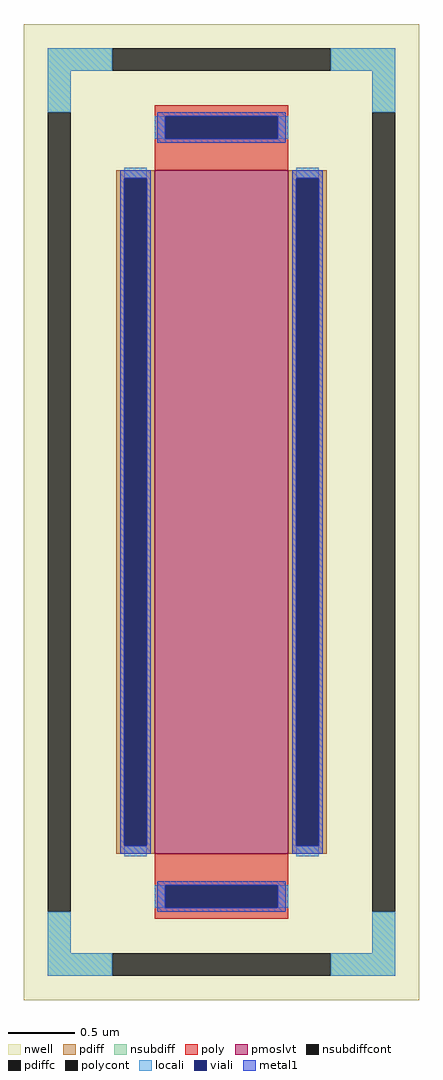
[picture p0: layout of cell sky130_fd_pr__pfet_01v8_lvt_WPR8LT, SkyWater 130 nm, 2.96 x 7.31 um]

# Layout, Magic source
magic
tech sky130A
magscale 1 2
<< nwell >>
rect -296 -731 296 731
<< pmoslvt >>
rect -100 -512 100 512
<< pdiff >>
rect -158 500 -100 512
rect -158 -500 -146 500
rect -112 -500 -100 500
rect -158 -512 -100 -500
rect 100 500 158 512
rect 100 -500 112 500
rect 146 -500 158 500
rect 100 -512 158 -500
<< pdiffc >>
rect -146 -500 -112 500
rect 112 -500 146 500
<< nsubdiff >>
rect -260 661 -164 695
rect 164 661 260 695
rect -260 599 -226 661
rect 226 599 260 661
rect -260 -661 -226 -599
rect 226 -661 260 -599
rect -260 -695 -164 -661
rect 164 -695 260 -661
<< nsubdiffcont >>
rect -164 661 164 695
rect -260 -599 -226 599
rect 226 -599 260 599
rect -164 -695 164 -661
<< poly >>
rect -100 593 100 609
rect -100 559 -84 593
rect 84 559 100 593
rect -100 512 100 559
rect -100 -559 100 -512
rect -100 -593 -84 -559
rect 84 -593 100 -559
rect -100 -609 100 -593
<< polycont >>
rect -84 559 84 593
rect -84 -593 84 -559
<< locali >>
rect -260 661 -164 695
rect 164 661 260 695
rect -260 599 -226 661
rect 226 599 260 661
rect -100 559 -84 593
rect 84 559 100 593
rect -146 500 -112 516
rect -146 -516 -112 -500
rect 112 500 146 516
rect 112 -516 146 -500
rect -100 -593 -84 -559
rect 84 -593 100 -559
rect -260 -661 -226 -599
rect 226 -661 260 -599
rect -260 -695 -164 -661
rect 164 -695 260 -661
<< viali >>
rect -84 559 84 593
rect -146 -500 -112 500
rect 112 -500 146 500
rect -84 -593 84 -559
<< metal1 >>
rect -96 593 96 599
rect -96 559 -84 593
rect 84 559 96 593
rect -96 553 96 559
rect -152 500 -106 512
rect -152 -500 -146 500
rect -112 -500 -106 500
rect -152 -512 -106 -500
rect 106 500 152 512
rect 106 -500 112 500
rect 146 -500 152 500
rect 106 -512 152 -500
rect -96 -559 96 -553
rect -96 -593 -84 -559
rect 84 -593 96 -559
rect -96 -599 96 -593
<< properties >>
string FIXED_BBOX -243 -678 243 678
string gencell sky130_fd_pr__pfet_01v8_lvt
string library sky130
string parameters w 5.12 l 1.0 m 1 nf 1 diffcov 100 polycov 100 guard 1 glc 1 grc 1 gtc 1 gbc 1 tbcov 100 rlcov 100 topc 1 botc 1 poverlap 0 doverlap 1 lmin 0.35 wmin 0.42 compatible {sky130_fd_pr__pfet_01v8  sky130_fd_pr__pfet_01v8_lvt sky130_fd_pr__pfet_01v8_hvt  sky130_fd_pr__pfet_g5v0d10v5} full_metal 1 viasrc 100 viadrn 100 viagate 100 viagb 0 viagr 0 viagl 0 viagt 0
<< end >>
